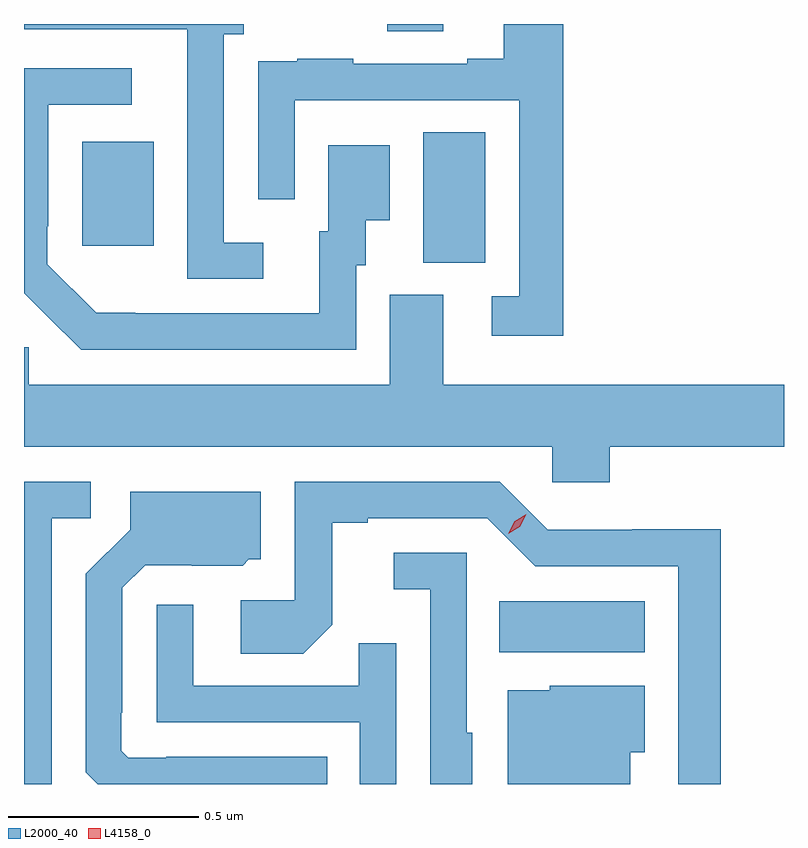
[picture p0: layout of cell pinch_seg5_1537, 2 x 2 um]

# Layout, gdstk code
import gdstk
lib = gdstk.Library(unit=1e-6, precision=1e-09)
def R(c, l, rs):  # rectangles x0, y0, x1, y1
    for r in rs: c.add(gdstk.rectangle(r[:2], r[2:], *l))
def P(c, l, *ps):  # polygons
    for p in ps: c.add(gdstk.Polygon(p, *l))
L2000_40 = (2000, 40)
L4158_0 = (4158, 0)

pinch_seg5_1537 = lib.new_cell('pinch_seg5_1537')
R(pinch_seg5_1537, L2000_40, [(136.48,888.188,136.864,888.322), (136.28,889.213,136.444,889.556), (135.383,889.257,135.571,889.531), (136.186,889.822,136.333,889.841)])
P(pinch_seg5_1537, L2000_40, [(136.649,889.841),(136.493,889.841),(136.493,889.75),(136.397,889.75),(136.397,889.737),(136.097,889.737),(136.097,889.75),(135.949,889.75),(135.949,889.743),(135.847,889.743),(135.847,889.634),(135.846,889.634),(135.846,889.38),(135.942,889.38),(135.942,889.641),(136.533,889.641),(136.533,889.125),(136.461,889.125),(136.461,889.02),(136.649,889.02)],
  [(135.859,889.266),(135.756,889.266),(135.756,889.814),(135.808,889.814),(135.808,889.841),(135.23,889.841),(135.23,889.827),(135.659,889.827),(135.659,889.627),(135.66,889.627),(135.66,889.17),(135.859,889.17)],
  [(136.104,889.206),(136.129,889.206),(136.129,889.325),(136.192,889.325),(136.192,889.522),(136.031,889.522),(136.031,889.296),(136.007,889.296),(136.007,889.08),(135.523,889.08),(135.523,889.081),(135.42,889.081),(135.291,889.209),(135.291,889.309),(135.294,889.309),(135.294,889.629),(135.514,889.629),(135.514,889.725),(135.23,889.725),(135.23,889.132),(135.288,889.074),(135.289,889.075),(135.38,888.984),(136.104,888.984)],
  [(136.333,889.128),(136.193,889.128),(136.193,888.892),(135.243,888.892),(135.243,888.99),(135.23,888.99),(135.23,888.728),(136.62,888.728),(136.62,888.635),(136.772,888.635),(136.772,888.728),(137.23,888.728),(137.23,888.892),(136.333,888.892)],
  [(135.303,888.54),(135.406,888.54),(135.406,888.636),(135.23,888.636),(135.23,887.841),(135.303,887.841)],
  [(137.063,888.512),(136.83,888.512),(136.83,888.51),(136.608,888.51),(136.482,888.636),(135.942,888.636),(135.942,888.324),(135.801,888.324),(135.801,888.184),(135.965,888.184),(136.041,888.26),(136.041,888.528),(136.135,888.528),(136.135,888.54),(136.449,888.54),(136.575,888.414),(136.952,888.414),(136.952,887.841),(137.063,887.841)],
  [(136.028,887.913),(135.604,887.913),(135.604,887.91),(135.504,887.91),(135.486,887.928),(135.486,888.028),(135.489,888.028),(135.489,888.357),(135.549,888.417),(135.672,888.417),(135.672,888.416),(135.806,888.416),(135.822,888.432),(135.853,888.432),(135.853,888.61),(135.509,888.61),(135.509,888.51),(135.393,888.394),(135.393,887.872),(135.424,887.841),(136.028,887.841)],
  [(136.41,887.976),(136.395,887.976),(136.395,888.45),(136.203,888.45),(136.203,888.353),(136.299,888.353),(136.299,887.841),(136.41,887.841)],
  [(136.209,888.212),(136.111,888.212),(136.111,888.099),(135.675,888.099),(135.675,888.313),(135.579,888.313),(135.579,888.003),(136.113,888.003),(136.113,887.841),(136.209,887.841)],
  [(136.825,887.924),(136.864,887.924),(136.864,888.1),(136.614,888.1),(136.614,888.088),(136.503,888.088),(136.503,887.841),(136.825,887.841)])
P(pinch_seg5_1537, L4158_0, [(136.504,888.499),(136.504,888.499),(136.521,888.532),(136.552,888.551),(136.552,888.551),(136.552,888.551),(136.535,888.518),(136.504,888.499)])

lib.write_gds('pinch_seg5_1537.gds')
